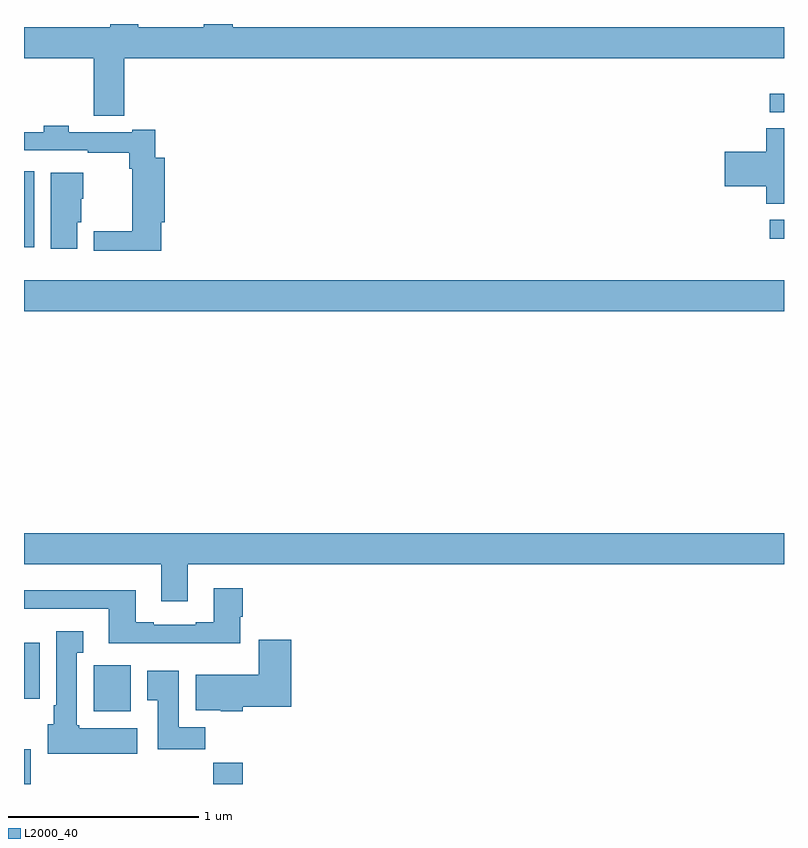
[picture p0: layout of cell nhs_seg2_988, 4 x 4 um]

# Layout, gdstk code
import gdstk
lib = gdstk.Library(unit=1e-6, precision=1e-09)
def R(c, l, rs):  # rectangles x0, y0, x1, y1
    for r in rs: c.add(gdstk.rectangle(r[:2], r[2:], *l))
def P(c, l, *ps):  # polygons
    for p in ps: c.add(gdstk.Polygon(p, *l))
L2000_40 = (2000, 40)

nhs_seg2_988 = lib.new_cell('nhs_seg2_988')
R(nhs_seg2_988, L2000_40, [(161,659.8,161.035,659.983), (161.995,659.8,162.152,659.912), (161.366,660.182,161.563,660.424), (161,660.248,161.083,660.544), (161,662.288,165,662.452), (161,662.624,161.053,663.025), (164.925,662.671,165,662.769), (164.925,663.336,165,663.432)])
P(nhs_seg2_988, L2000_40, [(161.528,663.62),(165,663.62),(165,663.784),(162.098,663.784),(162.098,663.8),(161.945,663.8),(161.945,663.784),(161.601,663.784),(161.601,663.8),(161.453,663.8),(161.453,663.784),(161,663.784),(161,663.62),(161.368,663.62),(161.368,663.316),(161.528,663.316)],
  [(161.723,662.757),(161.741,662.757),(161.741,663.097),(161.692,663.097),(161.692,663.244),(161.57,663.244),(161.57,663.231),(161.235,663.231),(161.235,663.264),(161.103,663.264),(161.103,663.231),(161,663.231),(161,663.135),(161.335,663.135),(161.335,663.123),(161.553,663.123),(161.553,663.038),(161.57,663.038),(161.57,662.708),(161.367,662.708),(161.367,662.606),(161.723,662.606)],
  [(165,663.251),(164.906,663.251),(164.906,663.128),(164.688,663.128),(164.688,662.945),(164.906,662.945),(164.906,662.854),(165,662.854)],
  [(161.281,662.757),(161.302,662.757),(161.302,662.88),(161.311,662.88),(161.311,663.016),(161.141,663.016),(161.141,662.616),(161.281,662.616)],
  [(161.863,660.956),(165,660.956),(165,661.12),(161,661.12),(161,660.956),(161.723,660.956),(161.723,660.762),(161.863,660.762)],
  [(162.139,660.681),(162.152,660.681),(162.152,660.829),(161.999,660.829),(161.999,660.652),(161.903,660.652),(161.903,660.639),(161.683,660.639),(161.683,660.652),(161.587,660.652),(161.587,660.82),(161,660.82),(161,660.723),(161.447,660.723),(161.447,660.542),(162.139,660.542)],
  [(161.596,660.094),(161.292,660.094),(161.292,660.108),(161.278,660.108),(161.278,660.491),(161.311,660.491),(161.311,660.604),(161.171,660.604),(161.171,660.214),(161.156,660.214),(161.156,660.114),(161.126,660.114),(161.126,659.96),(161.596,659.96)],
  [(162.15,660.206),(162.407,660.206),(162.407,660.559),(162.236,660.559),(162.236,660.376),(161.903,660.376),(161.903,660.188),(162.036,660.188),(162.036,660.182),(162.15,660.182)],
  [(161.954,660.1),(161.815,660.1),(161.815,660.397),(161.648,660.397),(161.648,660.241),(161.705,660.241),(161.705,659.982),(161.954,659.982)])

lib.write_gds('nhs_seg2_988.gds')
